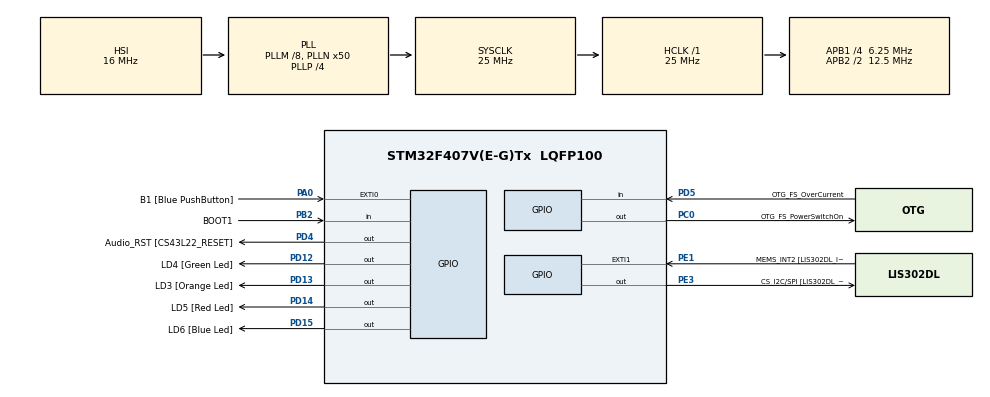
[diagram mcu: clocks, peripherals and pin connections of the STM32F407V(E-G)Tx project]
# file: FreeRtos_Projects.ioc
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Mcu.Family=STM32F4
Mcu.Name=STM32F407V(E-G)Tx
Mcu.Package=LQFP100
NVIC.PriorityGroup=NVIC_PRIORITYGROUP_4
NVIC.TIM6_DAC_IRQn=true\:0\:0\:false\:false\:true\:false\:true\:true
NVIC.TimeBase=TIM6_DAC_IRQn
NVIC.TimeBaseIP=TIM6
PA0-WKUP.GPIO_Label=B1 [Blue PushButton]
PA0-WKUP.Signal=GPXTI0
PA10.GPIO_Label=OTG_FS_ID
PA10.GPIO_Mode=GPIO_MODE_AF_PP
PA10.GPIO_PuPd=GPIO_NOPULL
PA10.GPIO_Speed=GPIO_SPEED_FREQ_LOW
PA10.Signal=USB_OTG_FS_ID
PA11.GPIO_Label=OTG_FS_DM
PA11.GPIO_Mode=GPIO_MODE_AF_PP
PA11.GPIO_PuPd=GPIO_NOPULL
PA11.GPIO_Speed=GPIO_SPEED_FREQ_LOW
PA11.Signal=USB_OTG_FS_DM
PA12.GPIO_Label=OTG_FS_DP
PA12.GPIO_Mode=GPIO_MODE_AF_PP
PA12.GPIO_PuPd=GPIO_NOPULL
PA12.GPIO_Speed=GPIO_SPEED_FREQ_LOW
PA12.Signal=USB_OTG_FS_DP
PA13.GPIO_Label=SWDIO
PA13.Signal=SYS_JTMS-SWDIO
PA14.GPIO_Label=SWCLK
PA14.Signal=SYS_JTCK-SWCLK
PA4.GPIO_Label=I2S3_WS [CS43L22_LRCK]
PA4.GPIO_Mode=GPIO_MODE_AF_PP
PA4.GPIO_PuPd=GPIO_NOPULL
PA4.GPIO_Speed=GPIO_SPEED_FREQ_LOW
PA4.Signal=I2S3_WS
PA5.GPIO_Label=SPI1_SCK [LIS302DL_SCL/SPC]
PA5.GPIO_Mode=GPIO_MODE_AF_PP
PA5.GPIO_PuPd=GPIO_NOPULL
PA5.GPIO_Speed=GPIO_SPEED_FREQ_LOW
PA5.Signal=SPI1_SCK
PA6.GPIO_Label=SPI1_MISO [LIS302DL_SDO]
PA6.GPIO_Mode=GPIO_MODE_AF_PP
PA6.GPIO_PuPd=GPIO_NOPULL
PA6.GPIO_Speed=GPIO_SPEED_FREQ_LOW
PA6.Signal=SPI1_MISO
PA7.GPIO_Label=SPI1_MOSI [LIS302DL_SDA/SDI/SDO]
PA7.GPIO_Mode=GPIO_MODE_AF_PP
PA7.GPIO_PuPd=GPIO_NOPULL
PA7.GPIO_Speed=GPIO_SPEED_FREQ_LOW
PA7.Signal=SPI1_MOSI
PA9.GPIO_Label=VBUS_FS
PA9.GPIO_Mode=GPIO_MODE_INPUT
PA9.GPIO_PuPd=GPIO_NOPULL
PA9.Signal=USB_OTG_FS_VBUS
PB10.GPIO_Label=CLK_IN [MP45DT02_CLK]
PB10.GPIO_Mode=GPIO_MODE_AF_PP
PB10.GPIO_PuPd=GPIO_NOPULL
PB10.GPIO_Speed=GPIO_SPEED_FREQ_LOW
PB10.Signal=I2S2_CK
PB2.GPIO_Label=BOOT1
PB2.GPIO_Mode=GPIO_MODE_INPUT
PB2.GPIO_PuPd=GPIO_NOPULL
PB2.Signal=GPIO_Input
PB3.GPIO_Label=SWO
PB3.Signal=SYS_JTDO-SWO
PB6.GPIO_Label=Audio_SCL [CS43L22_SCL]
PB6.GPIO_Mode=GPIO_MODE_AF_OD
PB6.GPIO_PuPd=GPIO_NOPULL
PB6.GPIO_Speed=GPIO_SPEED_FREQ_LOW
PB6.Signal=I2C1_SCL
PB9.GPIO_Label=Audio_SDA [CS43L22_SDA]
PB9.GPIO_Mode=GPIO_MODE_AF_OD
PB9.GPIO_PuPd=GPIO_NOPULL
PB9.GPIO_Speed=GPIO_SPEED_FREQ_LOW
PB9.Signal=I2C1_SDA
PC0.GPIO_Label=OTG_FS_PowerSwitchOn
PC0.GPIO_PuPd=GPIO_NOPULL
PC0.GPIO_Speed=GPIO_SPEED_FREQ_LOW
PC0.PinState=GPIO_PIN_SET
PC0.Signal=GPIO_Output
PC10.GPIO_Label=I2S3_SCK [CS43L22_SCLK]
PC10.GPIO_Mode=GPIO_MODE_AF_PP
PC10.GPIO_PuPd=GPIO_NOPULL
PC10.GPIO_Speed=GPIO_SPEED_FREQ_LOW
PC10.Signal=I2S3_CK
PC12.GPIO_Label=I2S3_SD [CS43L22_SDIN]
PC12.GPIO_Mode=GPIO_MODE_AF_PP
PC12.GPIO_PuPd=GPIO_NOPULL
PC12.GPIO_Speed=GPIO_SPEED_FREQ_LOW
PC12.Signal=I2S3_SD
PC14-OSC32_IN.GPIO_Label=PC14-OSC32_IN
PC14-OSC32_IN.Signal=RCC_OSC32_IN
PC15-OSC32_OUT.GPIO_Label=PC15-OSC32_OUT
PC15-OSC32_OUT.Signal=RCC_OSC32_OUT
PC3.GPIO_Label=PDM_OUT [MP45DT02_DOUT]
PC3.GPIO_Mode=GPIO_MODE_AF_PP
PC3.GPIO_PuPd=GPIO_NOPULL
PC3.GPIO_Speed=GPIO_SPEED_FREQ_LOW
PC3.Signal=I2S2_SD
PC7.GPIO_Label=I2S3_MCK [CS43L22_MCLK]
PC7.GPIO_Mode=GPIO_MODE_AF_PP
PC7.GPIO_PuPd=GPIO_NOPULL
PC7.GPIO_Speed=GPIO_SPEED_FREQ_LOW
PC7.Signal=I2S3_MCK
PD12.GPIO_Label=LD4 [Green Led]
PD12.GPIO_PuPd=GPIO_NOPULL
PD12.GPIO_Speed=GPIO_SPEED_FREQ_LOW
PD12.Signal=GPIO_Output
PD13.GPIO_Label=LD3 [Orange Led]
PD13.GPIO_PuPd=GPIO_NOPULL
PD13.GPIO_Speed=GPIO_SPEED_FREQ_LOW
PD13.Signal=GPIO_Output
PD14.GPIO_Label=LD5 [Red Led]
PD14.GPIO_PuPd=GPIO_NOPULL
PD14.GPIO_Speed=GPIO_SPEED_FREQ_LOW
PD14.Signal=GPIO_Output
PD15.GPIO_Label=LD6 [Blue Led]
PD15.GPIO_PuPd=GPIO_NOPULL
PD15.GPIO_Speed=GPIO_SPEED_FREQ_LOW
PD15.Signal=GPIO_Output
PD4.GPIO_Label=Audio_RST [CS43L22_RESET]
PD4.GPIO_PuPd=GPIO_NOPULL
PD4.GPIO_Speed=GPIO_SPEED_FREQ_LOW
PD4.Signal=GPIO_Output
PD5.GPIO_Label=OTG_FS_OverCurrent
PD5.GPIO_Mode=GPIO_MODE_INPUT
PD5.GPIO_PuPd=GPIO_NOPULL
PD5.Signal=GPIO_Input
PE1.GPIO_Label=MEMS_INT2 [LIS302DL_INT2]
PE1.GPIO_ModeDefaultEXTI=GPIO_MODE_EVT_RISING
PE1.GPIO_PuPd=GPIO_NOPULL
PE1.Signal=GPXTI1
PE3.GPIO_Label=CS_I2C/SPI [LIS302DL_CS_I2C/SPI]
PE3.GPIO_PuPd=GPIO_NOPULL
PE3.GPIO_Speed=GPIO_SPEED_FREQ_LOW
PE3.Signal=GPIO_Output
PH0-OSC_IN.GPIO_Label=PH0-OSC_IN
PH0-OSC_IN.Signal=RCC_OSC_IN
PH1-OSC_OUT.GPIO_Label=PH1-OSC_OUT
PH1-OSC_OUT.Signal=RCC_OSC_OUT
ProjectManager.HeapSize=0x200
ProjectManager.StackSize=0x400
ProjectManager.TargetToolchain=STM32CubeIDE
RCC.48MHZClocksFreq_Value=14285714.285714285
RCC.AHBFreq_Value=25000000
RCC.APB1CLKDivider=RCC_HCLK_DIV4
RCC.APB1Freq_Value=6250000
RCC.APB1TimFreq_Value=12500000
RCC.APB2CLKDivider=RCC_HCLK_DIV2
RCC.APB2Freq_Value=12500000
RCC.APB2TimFreq_Value=25000000
RCC.CortexFreq_Value=25000000
RCC.HCLKFreq_Value=25000000
RCC.HSE_VALUE=8000000
RCC.HSI_VALUE=16000000
RCC.LSE_VALUE=32768
RCC.PLLM=8
RCC.PLLN=50
RCC.PLLP=RCC_PLLP_DIV4
RCC.PLLQ=7
RCC.SYSCLKFreq_VALUE=25000000
RCC.SYSCLKSource=RCC_SYSCLKSOURCE_PLLCLK
RCC.VCOOutputFreq_Value=100000000
VP_SYS_VS_tim6.Mode=TIM6
board=STM32F407G-DISC1

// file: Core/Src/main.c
/* USER CODE BEGIN Header */
/**
  ******************************************************************************
  * @file           : main.c
  * @brief          : Main program body
  ******************************************************************************
  * @attention
  *
  * Copyright (c) 2022 STMicroelectronics.
  * All rights reserved.
  *
  * This software is licensed under terms that can be found in the LICENSE file
  * in the root directory of this software component.
  * If no LICENSE file comes with this software, it is provided AS-IS.
  *
  ******************************************************************************
  */
/* USER CODE END Header */
#include "main.h"

/* USER CODE BEGIN Includes */
#include <stdio.h>
#include "FreeRTOS.h"
#include "task.h"
/* USER CODE END Includes */

/* USER CODE BEGIN PV */

#define  DWT_CTRL  (*(volatile uint32_t *)0xE0001000)

/* USER CODE END PV */

void SystemClock_Config(void);
static void MX_GPIO_Init(void);
/* USER CODE BEGIN PFP */
void Task1_handler(void * pvParameters);
void Task2_handler(void * pvParameters);
/* USER CODE END PFP */

int main(void)
{
  /* USER CODE BEGIN 1 */
TaskHandle_t Task1_handle;
TaskHandle_t Task2_handle;

BaseType_t status;
  /* USER CODE END 1 */

  /* MCU Configuration--------------------------------------------------------*/

  /* Reset of all peripherals, Initializes the Flash interface and the Systick. */
  HAL_Init();

  /* Configure the system clock */
  SystemClock_Config();

  /* Initialize all configured peripherals */
  MX_GPIO_Init();
  /* USER CODE BEGIN 2 */

  DWT_CTRL |= (1<<0);

  SEGGER_SYSVIEW_Conf();
  SEGGER_SYSVIEW_Start();

  status = xTaskCreate(Task1_handler, "Task_1", 200, "Hello World From Task1", 2, &Task1_handle);
  configASSERT(status == pdPASS);
  status = xTaskCreate(Task2_handler, "Task_2", 200, "Hello World From Task2", 2, &Task2_handle);
  configASSERT(status == pdPASS);

  vTaskStartScheduler();

  /* USER CODE END 2 */

  /* Infinite loop */
  while (1)
  {

  }
}

void SystemClock_Config(void)
{
  RCC_OscInitTypeDef RCC_OscInitStruct = {0};
  RCC_ClkInitTypeDef RCC_ClkInitStruct = {0};

  /** Configure the main internal regulator output voltage
  */
  __HAL_RCC_PWR_CLK_ENABLE();
  __HAL_PWR_VOLTAGESCALING_CONFIG(PWR_REGULATOR_VOLTAGE_SCALE1);

  /** Initializes the RCC Oscillators according to the specified parameters
  * in the RCC_OscInitTypeDef structure.
  */
  RCC_OscInitStruct.OscillatorType = RCC_OSCILLATORTYPE_HSI;
  RCC_OscInitStruct.HSIState = RCC_HSI_ON;
  RCC_OscInitStruct.HSICalibrationValue = RCC_HSICALIBRATION_DEFAULT;
  RCC_OscInitStruct.PLL.PLLState = RCC_PLL_ON;
  RCC_OscInitStruct.PLL.PLLSource = RCC_PLLSOURCE_HSI;
  RCC_OscInitStruct.PLL.PLLM = 8;
  RCC_OscInitStruct.PLL.PLLN = 50;
  RCC_OscInitStruct.PLL.PLLP = RCC_PLLP_DIV4;
  RCC_OscInitStruct.PLL.PLLQ = 7;
  if (HAL_RCC_OscConfig(&RCC_OscInitStruct) != HAL_OK)
  {
    Error_Handler();
  }

  /** Initializes the CPU, AHB and APB buses clocks
  */
  RCC_ClkInitStruct.ClockType = RCC_CLOCKTYPE_HCLK|RCC_CLOCKTYPE_SYSCLK
                              |RCC_CLOCKTYPE_PCLK1|RCC_CLOCKTYPE_PCLK2;
  RCC_ClkInitStruct.SYSCLKSource = RCC_SYSCLKSOURCE_PLLCLK;
  RCC_ClkInitStruct.AHBCLKDivider = RCC_SYSCLK_DIV1;
  RCC_ClkInitStruct.APB1CLKDivider = RCC_HCLK_DIV4;
  RCC_ClkInitStruct.APB2CLKDivider = RCC_HCLK_DIV2;

  if (HAL_RCC_ClockConfig(&RCC_ClkInitStruct, FLASH_LATENCY_0) != HAL_OK)
  {
    Error_Handler();
  }
}

static void MX_GPIO_Init(void)
{
  GPIO_InitTypeDef GPIO_InitStruct = {0};

  /* GPIO Ports Clock Enable */
  __HAL_RCC_GPIOE_CLK_ENABLE();
  __HAL_RCC_GPIOC_CLK_ENABLE();
  __HAL_RCC_GPIOH_CLK_ENABLE();
  __HAL_RCC_GPIOA_CLK_ENABLE();
  __HAL_RCC_GPIOB_CLK_ENABLE();
  __HAL_RCC_GPIOD_CLK_ENABLE();

  /*Configure GPIO pin Output Level */
  HAL_GPIO_WritePin(CS_I2C_SPI_GPIO_Port, CS_I2C_SPI_Pin, GPIO_PIN_RESET);

  /*Configure GPIO pin Output Level */
  HAL_GPIO_WritePin(OTG_FS_PowerSwitchOn_GPIO_Port, OTG_FS_PowerSwitchOn_Pin, GPIO_PIN_SET);

  /*Configure GPIO pin Output Level */
  HAL_GPIO_WritePin(GPIOD, LD4_Pin|LD3_Pin|LD5_Pin|LD6_Pin
                          |Audio_RST_Pin, GPIO_PIN_RESET);

  /*Configure GPIO pin : CS_I2C_SPI_Pin */
  GPIO_InitStruct.Pin = CS_I2C_SPI_Pin;
  GPIO_InitStruct.Mode = GPIO_MODE_OUTPUT_PP;
  GPIO_InitStruct.Pull = GPIO_NOPULL;
  GPIO_InitStruct.Speed = GPIO_SPEED_FREQ_LOW;
  HAL_GPIO_Init(CS_I2C_SPI_GPIO_Port, &GPIO_InitStruct);

  /*Configure GPIO pin : OTG_FS_PowerSwitchOn_Pin */
  GPIO_InitStruct.Pin = OTG_FS_PowerSwitchOn_Pin;
  GPIO_InitStruct.Mode = GPIO_MODE_OUTPUT_PP;
  GPIO_InitStruct.Pull = GPIO_NOPULL;
  GPIO_InitStruct.Speed = GPIO_SPEED_FREQ_LOW;
  HAL_GPIO_Init(OTG_FS_PowerSwitchOn_GPIO_Port, &GPIO_InitStruct);

  /*Configure GPIO pin : PDM_OUT_Pin */
  GPIO_InitStruct.Pin = PDM_OUT_Pin;
  GPIO_InitStruct.Mode = GPIO_MODE_AF_PP;
  GPIO_InitStruct.Pull = GPIO_NOPULL;
  GPIO_InitStruct.Speed = GPIO_SPEED_FREQ_LOW;
  GPIO_InitStruct.Alternate = GPIO_AF5_SPI2;
  HAL_GPIO_Init(PDM_OUT_GPIO_Port, &GPIO_InitStruct);

  /*Configure GPIO pin : B1_Pin */
  GPIO_InitStruct.Pin = B1_Pin;
  GPIO_InitStruct.Mode = GPIO_MODE_IT_RISING;
  GPIO_InitStruct.Pull = GPIO_NOPULL;
  HAL_GPIO_Init(B1_GPIO_Port, &GPIO_InitStruct);

  /*Configure GPIO pin : I2S3_WS_Pin */
  GPIO_InitStruct.Pin = I2S3_WS_Pin;
  GPIO_InitStruct.Mode = GPIO_MODE_AF_PP;
  GPIO_InitStruct.Pull = GPIO_NOPULL;
  GPIO_InitStruct.Speed = GPIO_SPEED_FREQ_LOW;
  GPIO_InitStruct.Alternate = GPIO_AF6_SPI3;
  HAL_GPIO_Init(I2S3_WS_GPIO_Port, &GPIO_InitStruct);

  /*Configure GPIO pins : SPI1_SCK_Pin SPI1_MISO_Pin SPI1_MOSI_Pin */
  GPIO_InitStruct.Pin = SPI1_SCK_Pin|SPI1_MISO_Pin|SPI1_MOSI_Pin;
  GPIO_InitStruct.Mode = GPIO_MODE_AF_PP;
  GPIO_InitStruct.Pull = GPIO_NOPULL;
  GPIO_InitStruct.Speed = GPIO_SPEED_FREQ_LOW;
  GPIO_InitStruct.Alternate = GPIO_AF5_SPI1;
  HAL_GPIO_Init(GPIOA, &GPIO_InitStruct);

  /*Configure GPIO pin : BOOT1_Pin */
  GPIO_InitStruct.Pin = BOOT1_Pin;
  GPIO_InitStruct.Mode = GPIO_MODE_INPUT;
  GPIO_InitStruct.Pull = GPIO_NOPULL;
  HAL_GPIO_Init(BOOT1_GPIO_Port, &GPIO_InitStruct);

  /*Configure GPIO pin : CLK_IN_Pin */
  GPIO_InitStruct.Pin = CLK_IN_Pin;
  GPIO_InitStruct.Mode = GPIO_MODE_AF_PP;
  GPIO_InitStruct.Pull = GPIO_NOPULL;
  GPIO_InitStruct.Speed = GPIO_SPEED_FREQ_LOW;
  GPIO_InitStruct.Alternate = GPIO_AF5_SPI2;
  HAL_GPIO_Init(CLK_IN_GPIO_Port, &GPIO_InitStruct);

  /*Configure GPIO pins : LD4_Pin LD3_Pin LD5_Pin LD6_Pin
                           Audio_RST_Pin */
  GPIO_InitStruct.Pin = LD4_Pin|LD3_Pin|LD5_Pin|LD6_Pin
                          |Audio_RST_Pin;
  GPIO_InitStruct.Mode = GPIO_MODE_OUTPUT_PP;
  GPIO_InitStruct.Pull = GPIO_NOPULL;
  GPIO_InitStruct.Speed = GPIO_SPEED_FREQ_LOW;
  HAL_GPIO_Init(GPIOD, &GPIO_InitStruct);

  /*Configure GPIO pins : I2S3_MCK_Pin I2S3_SCK_Pin I2S3_SD_Pin */
  GPIO_InitStruct.Pin = I2S3_MCK_Pin|I2S3_SCK_Pin|I2S3_SD_Pin;
  GPIO_InitStruct.Mode = GPIO_MODE_AF_PP;
  GPIO_InitStruct.Pull = GPIO_NOPULL;
  GPIO_InitStruct.Speed = GPIO_SPEED_FREQ_LOW;
  GPIO_InitStruct.Alternate = GPIO_AF6_SPI3;
  HAL_GPIO_Init(GPIOC, &GPIO_InitStruct);

  /*Configure GPIO pin : VBUS_FS_Pin */
  GPIO_InitStruct.Pin = VBUS_FS_Pin;
  GPIO_InitStruct.Mode = GPIO_MODE_INPUT;
  GPIO_InitStruct.Pull = GPIO_NOPULL;
  HAL_GPIO_Init(VBUS_FS_GPIO_Port, &GPIO_InitStruct);

  /*Configure GPIO pins : OTG_FS_ID_Pin OTG_FS_DM_Pin OTG_FS_DP_Pin */
  GPIO_InitStruct.Pin = OTG_FS_ID_Pin|OTG_FS_DM_Pin|OTG_FS_DP_Pin;
  GPIO_InitStruct.Mode = GPIO_MODE_AF_PP;
  GPIO_InitStruct.Pull = GPIO_NOPULL;
  GPIO_InitStruct.Speed = GPIO_SPEED_FREQ_LOW;
  GPIO_InitStruct.Alternate = GPIO_AF10_OTG_FS;
  HAL_GPIO_Init(GPIOA, &GPIO_InitStruct);

  /*Configure GPIO pin : OTG_FS_OverCurrent_Pin */
  GPIO_InitStruct.Pin = OTG_FS_OverCurrent_Pin;
  GPIO_InitStruct.Mode = GPIO_MODE_INPUT;
  GPIO_InitStruct.Pull = GPIO_NOPULL;
  HAL_GPIO_Init(OTG_FS_OverCurrent_GPIO_Port, &GPIO_InitStruct);

  /*Configure GPIO pins : Audio_SCL_Pin Audio_SDA_Pin */
  GPIO_InitStruct.Pin = Audio_SCL_Pin|Audio_SDA_Pin;
  GPIO_InitStruct.Mode = GPIO_MODE_AF_OD;
  GPIO_InitStruct.Pull = GPIO_NOPULL;
  GPIO_InitStruct.Speed = GPIO_SPEED_FREQ_LOW;
  GPIO_InitStruct.Alternate = GPIO_AF4_I2C1;
  HAL_GPIO_Init(GPIOB, &GPIO_InitStruct);

  /*Configure GPIO pin : MEMS_INT2_Pin */
  GPIO_InitStruct.Pin = MEMS_INT2_Pin;
  GPIO_InitStruct.Mode = GPIO_MODE_EVT_RISING;
  GPIO_InitStruct.Pull = GPIO_NOPULL;
  HAL_GPIO_Init(MEMS_INT2_GPIO_Port, &GPIO_InitStruct);

}

/* USER CODE BEGIN 4 */
void Task1_handler(void * pvParameters)
{

	while(1)
	{
		printf("%s\n",(char *)pvParameters);
		//taskYIELD();
	}

}
void Task2_handler(void * pvParameters)
{
	while(1)
	{
		printf("%s\n",(char *)pvParameters);
		//taskYIELD();
	}
}
/* USER CODE END 4 */

void HAL_TIM_PeriodElapsedCallback(TIM_HandleTypeDef *htim)
{
  if (htim->Instance == TIM6) {
    HAL_IncTick();
  }
}

void Error_Handler(void)
{
  __disable_irq();
  while (1)
  {
  }
}
